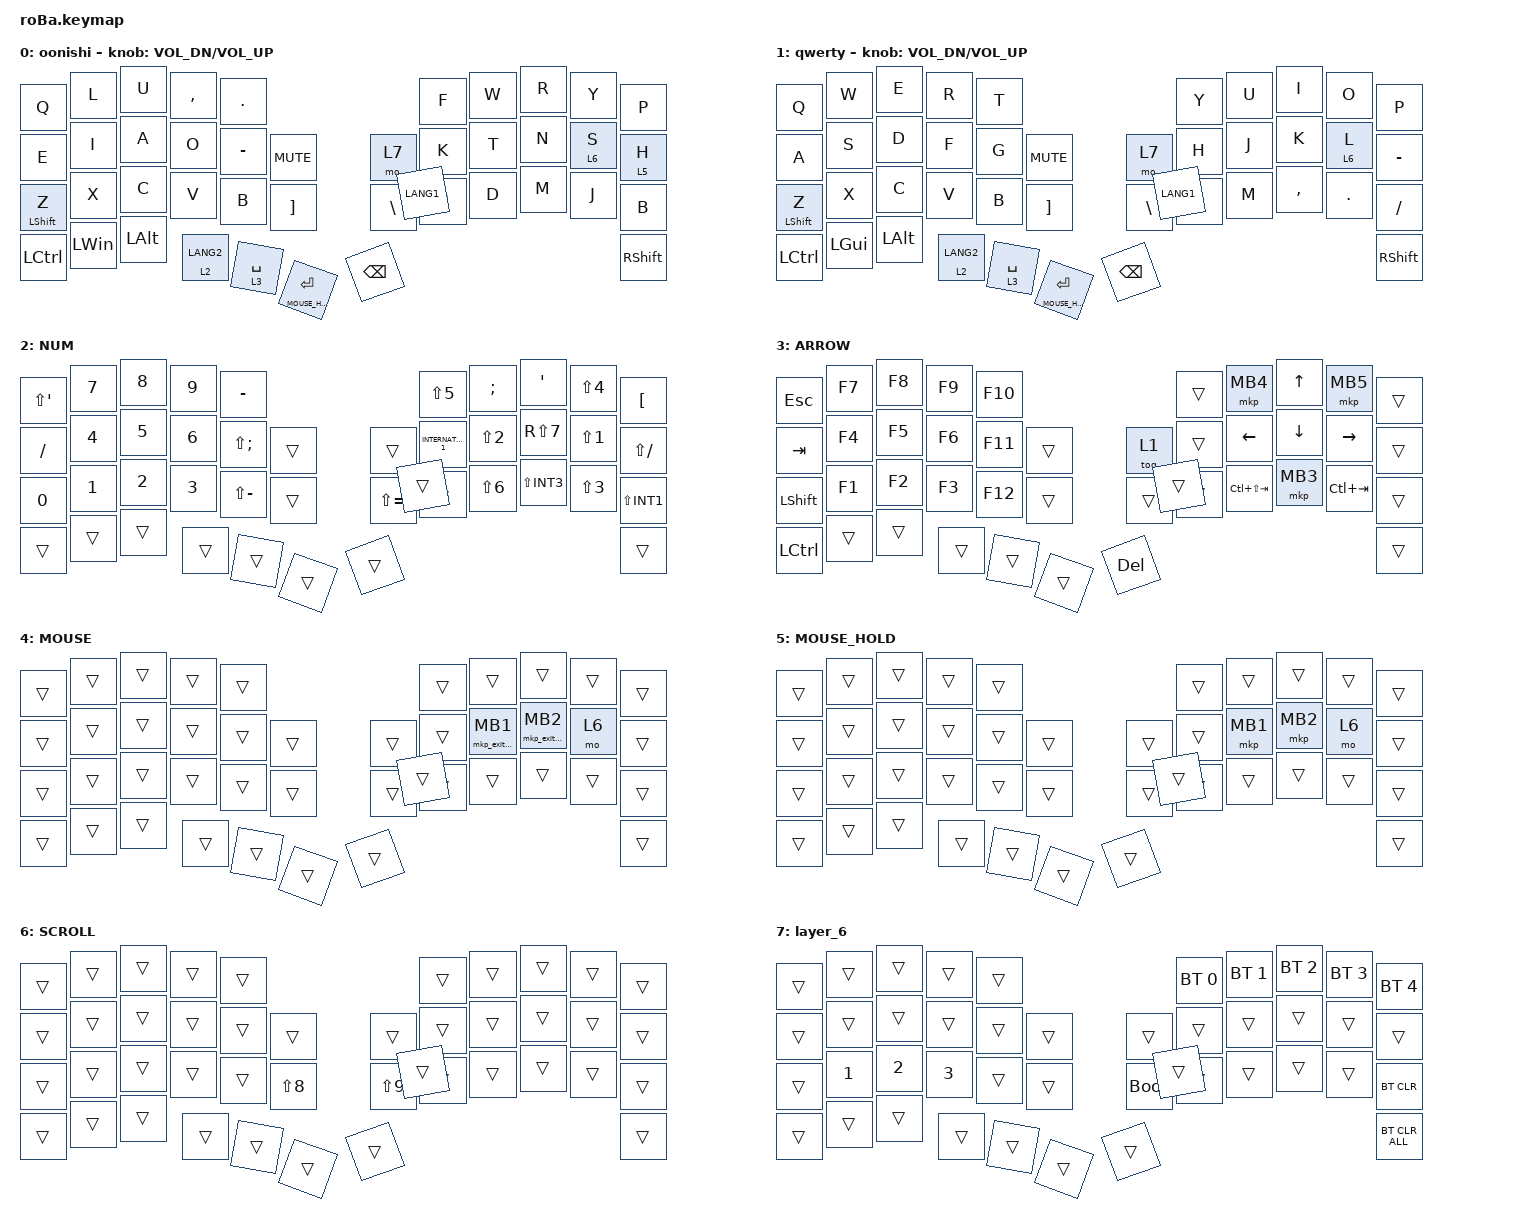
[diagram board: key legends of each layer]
#include <behaviors.dtsi>
#include <dt-bindings/zmk/bt.h>
#include <dt-bindings/zmk/keys.h>
#include <dt-bindings/zmk/pointing.h>

#define MOUSE 4
#define MOUSE_HOLD 5

&mt {
    flavor = "balanced";
    quick-tap-ms = <0>;
};

&sl { release-after-ms = <250>; };

&trackball {
    scroll-layers = <6>;

    // arrows {
    //     layers = <3>;
    //     bindings =
    //         <&kp RIGHT_ARROW>,
    //         <&kp LEFT_ARROW>,
    //         <&kp UP_ARROW>,
    //         <&kp DOWN_ARROW>;
    //     tick = <10>;
    //     wait-ms = <5>;
    //     tap-ms = <5>;
    // };
};

/ {
    combos { compatible = "zmk,combos"; };

    macros {
        to_layer_0: to_layer_0 {
            compatible = "zmk,behavior-macro-one-param";
            #binding-cells = <1>;
            bindings = <&to 0 &macro_param_1to1 &kp MACRO_PLACEHOLDER>;
            label = "TO_LAYER_0";
        };

        mkp_exit_AML: mkp_exit_AML {
            compatible = "zmk,behavior-macro-one-param";
            #binding-cells = <1>;
            bindings =
                <&macro_press>,
                <&macro_param_1to1 &mkp MACRO_PLACEHOLDER>,
                <&macro_pause_for_release>,
                <&macro_release>,
                <&macro_param_1to1 &mkp MACRO_PLACEHOLDER>,
                <&macro_tap>,
                <&sl MOUSE>;

            label = "MKP_EXIT_AML";
        };
    };

    behaviors {
        lt_to_layer_0: lt_to_layer_0 {
            compatible = "zmk,behavior-hold-tap";
            label = "LAYER_TAP_TO_0";
            bindings = <&mo>, <&to_layer_0>;

            #binding-cells = <2>;
            tapping-term-ms = <200>;
        };
    };

    keymap {
        compatible = "zmk,keymap";

        oonishi {
            bindings = <
&kp Q             &kp L         &kp U         &kp COMMA    &kp PERIOD                                            &kp F      &kp W  &kp R  &kp Y    &kp P
&kp E             &kp I         &kp A         &kp O        &kp MINUS    &kp C_MUTE                &mo 7          &kp K      &kp T  &kp N  &lt 6 S  &lt 5 H
&mt LEFT_SHIFT Z  &kp X         &kp C         &kp V        &kp B        &kp RIGHT_BRACKET         &kp BACKSLASH  &kp G      &kp D  &kp M  &kp J    &kp B
&kp LCTRL         &kp LEFT_WIN  &kp LEFT_ALT  &lt 2 LANG2  &lt 3 SPACE  &lt MOUSE_HOLD ENTER      &kp BACKSPACE  &kp LANG1                         &kp RIGHT_SHIFT
            >;

            sensor-bindings = <&inc_dec_kp C_VOL_DN C_VOL_UP>;
        };

        qwerty {
            bindings = <
&kp Q             &kp W     &kp E     &kp R        &kp T                                                 &kp Y      &kp U  &kp I      &kp O    &kp P
&kp A             &kp S     &kp D     &kp F        &kp G        &kp C_MUTE                &mo 7          &kp H      &kp J  &kp K      &lt 6 L  &kp MINUS
&mt LEFT_SHIFT Z  &kp X     &kp C     &kp V        &kp B        &kp RIGHT_BRACKET         &kp BACKSLASH  &kp N      &kp M  &kp COMMA  &kp DOT  &kp FSLH
&kp LCTRL         &kp LGUI  &kp LALT  &lt 2 LANG2  &lt 3 SPACE  &lt MOUSE_HOLD ENTER      &kp BACKSPACE  &kp LANG1                             &kp RSHFT
            >;

            sensor-bindings = <&inc_dec_kp C_VOL_DN C_VOL_UP>;
        };

        NUM {
            bindings = <
&kp LS(APOSTROPHE)  &kp N7  &kp N8  &kp N9  &kp MINUS                                     &kp LS(N5)           &kp SEMICOLON     &kp APOSTROPHE  &kp LS(NUMBER_4)  &kp LEFT_BRACKET
&kp FSLH            &kp N4  &kp N5  &kp N6  &kp LS(SEMICOLON)  &trans      &trans         &kp INTERNATIONAL_1  &kp LS(NUMBER_2)  &kp RS(N7)      &kp LS(NUMBER_1)  &kp LS(SLASH)
&kp N0              &kp N1  &kp N2  &kp N3  &kp LS(MINUS)      &trans      &kp LS(EQUAL)  &kp EQUAL            &kp LS(NUMBER_6)  &kp LS(INT3)    &kp LS(NUMBER_3)  &kp LS(INT1)
&trans              &trans  &trans  &trans  &trans             &trans      &trans         &trans                                                                   &trans
            >;
        };

        ARROW {
            bindings = <
&kp ESCAPE      &kp F7  &kp F8  &kp F9  &kp F10                          &trans  &mkp MB4         &kp UP_ARROW    &mkp MB5         &trans
&kp TAB         &kp F4  &kp F5  &kp F6  &kp F11  &trans      &tog 1      &trans  &kp LEFT_ARROW   &kp DOWN_ARROW  &kp RIGHT_ARROW  &trans
&kp LEFT_SHIFT  &kp F1  &kp F2  &kp F3  &kp F12  &trans      &trans      &trans  &kp LC(LS(TAB))  &mkp MB3        &kp LC(TAB)      &trans
&kp LCTRL       &trans  &trans  &trans  &trans   &trans      &kp DELETE  &trans                                                    &trans
            >;
        };

        MOUSE {
            bindings = <
&trans  &trans  &trans  &trans  &trans                      &trans  &trans             &trans             &trans  &trans
&trans  &trans  &trans  &trans  &trans  &trans      &trans  &trans  &mkp_exit_AML MB1  &mkp_exit_AML MB2  &mo 6   &trans
&trans  &trans  &trans  &trans  &trans  &trans      &trans  &trans  &trans             &trans             &trans  &trans
&trans  &trans  &trans  &trans  &trans  &trans      &trans  &trans                                                &trans
            >;
        };

        MOUSE_HOLD {
            bindings = <
&trans  &trans  &trans  &trans  &trans                      &trans  &trans    &trans    &trans  &trans
&trans  &trans  &trans  &trans  &trans  &trans      &trans  &trans  &mkp MB1  &mkp MB2  &mo 6   &trans
&trans  &trans  &trans  &trans  &trans  &trans      &trans  &trans  &trans    &trans    &trans  &trans
&trans  &trans  &trans  &trans  &trans  &trans      &trans  &trans                              &trans
            >;
        };

        SCROLL {
            bindings = <
&trans  &trans  &trans  &trans  &trans                              &trans  &trans  &trans  &trans  &trans
&trans  &trans  &trans  &trans  &trans  &trans          &trans      &trans  &trans  &trans  &trans  &trans
&trans  &trans  &trans  &trans  &trans  &kp LS(N8)      &kp LS(N9)  &trans  &trans  &trans  &trans  &trans
&trans  &trans  &trans  &trans  &trans  &trans          &trans      &trans                          &trans
            >;
        };

        layer_6 {
            bindings = <
&trans  &trans        &trans        &trans        &trans                           &bt BT_SEL 0  &bt BT_SEL 1  &bt BT_SEL 2  &bt BT_SEL 3  &bt BT_SEL 4
&trans  &trans        &trans        &trans        &trans  &trans      &trans       &trans        &trans        &trans        &trans        &trans
&trans  &kp NUMBER_1  &kp NUMBER_2  &kp NUMBER_3  &trans  &trans      &bootloader  &trans        &trans        &trans        &trans        &bt BT_CLR
&trans  &trans        &trans        &trans        &trans  &trans      &trans       &trans                                                  &bt BT_CLR_ALL
            >;
        };
    };
};
